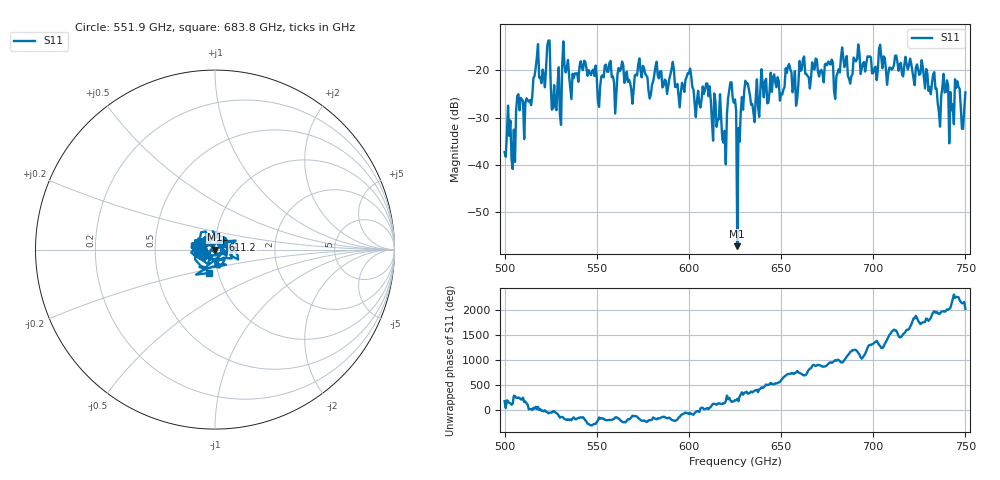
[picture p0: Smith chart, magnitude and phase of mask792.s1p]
!Created with skrf (http://scikit-rf.org).
# GHz S MA R 50.0
!freq magS11 angS11
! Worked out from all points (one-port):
!   401 points, 500 GHz to 750 GHz, reference 50 ohm
!   lowest |S11| = -57.2 dB at 626.2 GHz (marker M1), VSWR 1.00, Z = 49.9 - j0.103 ohm
!   |S11| at or under -10 dB: start of sweep to end of sweep
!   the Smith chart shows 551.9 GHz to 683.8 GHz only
!   S11 on the Smith chart (normalised r, x): 551.9 GHz: 0.87, -0.02; 611.2 GHz: 1.09, +0.11; 683.8 GHz: 0.90, -0.24
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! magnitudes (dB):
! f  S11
! 500 GHz  -37.3
! 505 GHz  -32.6
! 507.5 GHz  -25.1
! 511.9 GHz  -25.9
! 516.9 GHz  -19.4
! 523.8 GHz  -13.7
! 526.9 GHz  -23.1
! 531.2 GHz  -18.8
! 542.5 GHz  -20.0
! 551.9 GHz  -23.3
! 562.5 GHz  -20.2
! 593.8 GHz  -22.9
! 611.2 GHz  -23.4
! 618.8 GHz  -35.3
! 623.1 GHz  -22.6
! 625 GHz  -26.2
! 626.2 GHz  -57.2
! 631.2 GHz  -22.9
! 635 GHz  -28.9
! 656.2 GHz  -24.7
! 683.8 GHz  -17.4
! 687.5 GHz  -22.8
! 718.8 GHz  -19.8
! 735.6 GHz  -28.8
! 739.4 GHz  -24.6
! 742.5 GHz  -28.5
! 745.6 GHz  -22.3
! 750 GHz  -24.7
